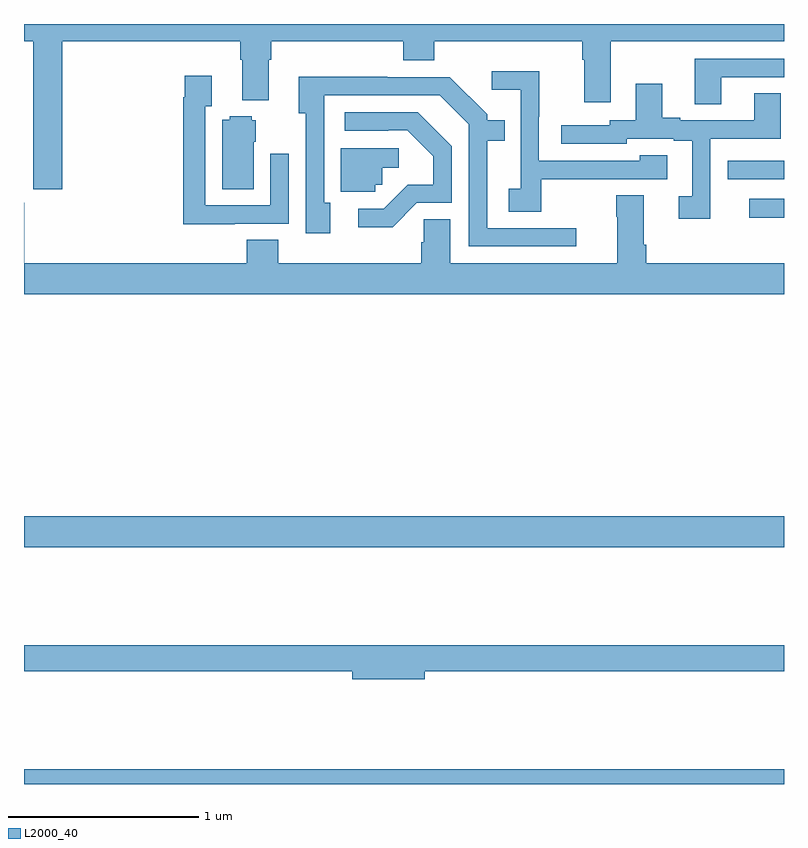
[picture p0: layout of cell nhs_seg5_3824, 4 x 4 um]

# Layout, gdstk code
import gdstk
lib = gdstk.Library(unit=1e-6, precision=1e-09)
def R(c, l, rs):  # rectangles x0, y0, x1, y1
    for r in rs: c.add(gdstk.rectangle(r[:2], r[2:], *l))
def P(c, l, *ps):  # polygons
    for p in ps: c.add(gdstk.Polygon(p, *l))
L2000_40 = (2000, 40)

nhs_seg5_3824 = lib.new_cell('nhs_seg5_3824')
R(nhs_seg5_3824, L2000_40, [(335,904.799,339,904.876), (335,906.044,339,906.208), (338.817,907.78,339,907.878)])
P(nhs_seg5_3824, L2000_40, [(335.201,908.708),(336.137,908.708),(336.137,908.612),(336.149,908.612),(336.149,908.399),(336.289,908.399),(336.289,908.612),(336.302,908.612),(336.302,908.708),(336.995,908.708),(336.995,908.609),(337.16,908.609),(337.16,908.708),(337.937,908.708),(337.937,908.612),(337.949,908.612),(337.949,908.388),(338.089,908.388),(338.089,908.708),(339,908.708),(339,908.799),(335,908.799),(335,908.708),(335.048,908.708),(335.048,907.929),(335.201,907.929)],
  [(338.671,908.52),(339,908.52),(339,908.616),(338.531,908.616),(338.531,908.377),(338.671,908.377)],
  [(337.723,907.981),(338.027,907.981),(338.027,907.983),(338.386,907.983),(338.386,908.107),(338.241,908.107),(338.241,908.079),(337.71,908.079),(337.71,908.312),(337.713,908.312),(337.713,908.551),(337.461,908.551),(337.461,908.453),(337.614,908.453),(337.614,907.932),(337.551,907.932),(337.551,907.81),(337.723,907.81)],
  [(336.109,907.749),(336.393,907.749),(336.393,908.116),(336.297,908.116),(336.297,907.845),(335.955,907.845),(335.955,908.366),(335.989,908.366),(335.989,908.527),(335.847,908.527),(335.847,908.414),(335.839,908.414),(335.839,907.745),(336.109,907.745)],
  [(337.906,907.725),(337.438,907.725),(337.438,908.184),(337.529,908.184),(337.529,908.293),(337.437,908.293),(337.437,908.325),(337.242,908.52),(336.911,908.52),(336.911,908.522),(336.446,908.522),(336.446,908.33),(336.483,908.33),(336.483,907.698),(336.613,907.698),(336.613,907.858),(336.579,907.858),(336.579,908.424),(337.188,908.424),(337.341,908.271),(337.341,907.629),(337.906,907.629)],
  [(338.613,908.196),(338.983,908.196),(338.983,908.435),(338.843,908.435),(338.843,908.292),(338.455,908.292),(338.455,908.305),(338.359,908.305),(338.359,908.485),(338.219,908.485),(338.219,908.292),(338.082,908.292),(338.082,908.265),(337.827,908.265),(337.827,908.169),(338.172,908.169),(338.172,908.196),(338.42,908.196),(338.42,908.184),(338.516,908.184),(338.516,907.893),(338.445,907.893),(338.445,907.773),(338.613,907.773)],
  [(337.068,907.857),(337.251,907.857),(337.251,908.155),(337.072,908.334),(336.687,908.334),(336.687,908.238),(336.917,908.238),(336.917,908.241),(337.017,908.241),(337.154,908.104),(337.154,907.954),(337.021,907.954),(336.894,907.827),(336.759,907.827),(336.759,907.73),(336.94,907.73)],
  [(336.208,908.178),(336.22,908.178),(336.22,908.292),(336.198,908.292),(336.198,908.314),(336.084,908.314),(336.084,908.296),(336.044,908.296),(336.044,907.93),(336.208,907.93)],
  [(336.849,907.953),(336.885,907.953),(336.885,908.042),(336.973,908.042),(336.973,908.145),(336.668,908.145),(336.668,907.917),(336.849,907.917)],
  [(339,908.079),(338.815,908.079),(338.815,908.078),(338.703,908.078),(338.703,907.983),(339,907.983)],
  [(339,907.54),(338.276,907.54),(338.276,907.636),(338.263,907.636),(338.263,907.897),(338.116,907.897),(338.116,907.784),(338.123,907.784),(338.123,907.54),(337.243,907.54),(337.243,907.772),(337.105,907.772),(337.105,907.65),(337.091,907.65),(337.091,907.54),(336.338,907.54),(336.338,907.664),(336.173,907.664),(336.173,907.54),(335.002,907.54),(335.002,907.857),(335,907.857),(335,907.376),(339,907.376)],
  [(337.108,905.392),(339,905.392),(339,905.528),(335,905.528),(335,905.392),(336.728,905.392),(336.728,905.35),(337.108,905.35)])

lib.write_gds('nhs_seg5_3824.gds')
